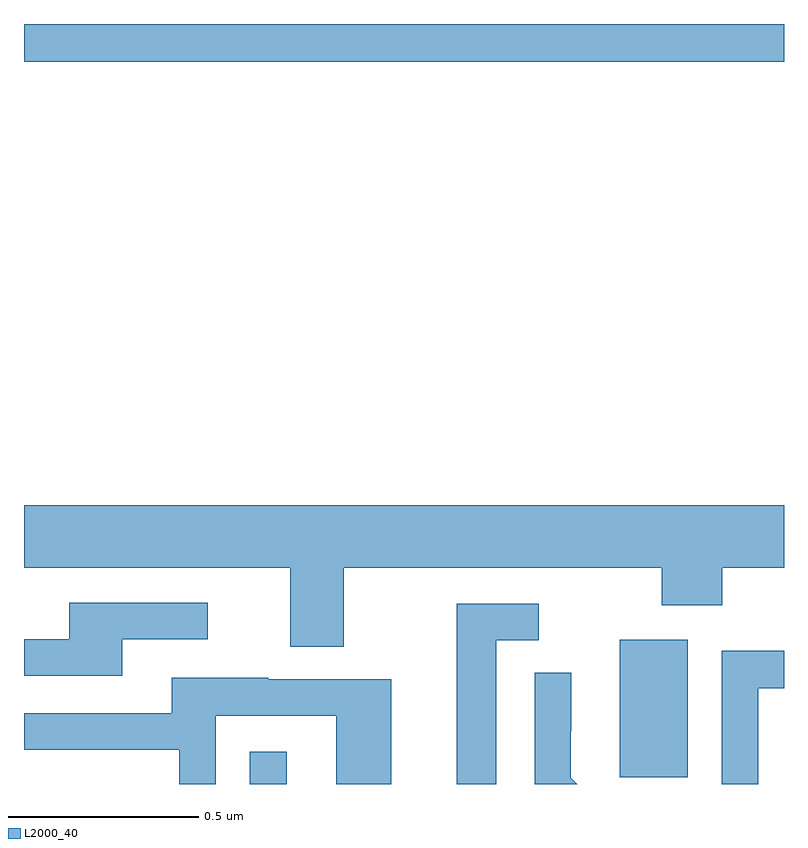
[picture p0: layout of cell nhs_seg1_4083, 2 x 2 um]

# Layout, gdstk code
import gdstk
lib = gdstk.Library(unit=1e-6, precision=1e-09)
def R(c, l, rs):  # rectangles x0, y0, x1, y1
    for r in rs: c.add(gdstk.rectangle(r[:2], r[2:], *l))
def P(c, l, *ps):  # polygons
    for p in ps: c.add(gdstk.Polygon(p, *l))
L2000_40 = (2000, 40)

nhs_seg1_4083 = lib.new_cell('nhs_seg1_4083')
R(nhs_seg1_4083, L2000_40, [(162.594,515.199,162.691,515.284), (163.568,515.217,163.747,515.578), (162,517.1,164,517.199)])
P(nhs_seg1_4083, L2000_40, [(162.841,515.768),(163.678,515.768),(163.678,515.669),(163.838,515.669),(163.838,515.768),(164,515.768),(164,515.932),(162,515.932),(162,515.768),(162.701,515.768),(162.701,515.56),(162.841,515.56)],
  [(162.259,515.58),(162.484,515.58),(162.484,515.676),(162.119,515.676),(162.119,515.58),(162,515.58),(162,515.484),(162.259,515.484)],
  [(163.243,515.577),(163.354,515.577),(163.354,515.673),(163.139,515.673),(163.139,515.199),(163.243,515.199)],
  [(163.932,515.451),(164,515.451),(164,515.55),(163.836,515.55),(163.836,515.199),(163.932,515.199)],
  [(163.439,515.216),(163.439,515.338),(163.44,515.338),(163.44,515.492),(163.344,515.492),(163.344,515.199),(163.456,515.199)],
  [(162.504,515.379),(162.822,515.379),(162.822,515.199),(162.967,515.199),(162.967,515.475),(162.643,515.475),(162.643,515.479),(162.389,515.479),(162.389,515.385),(162,515.385),(162,515.289),(162.408,515.289),(162.408,515.199),(162.504,515.199)])

lib.write_gds('nhs_seg1_4083.gds')
